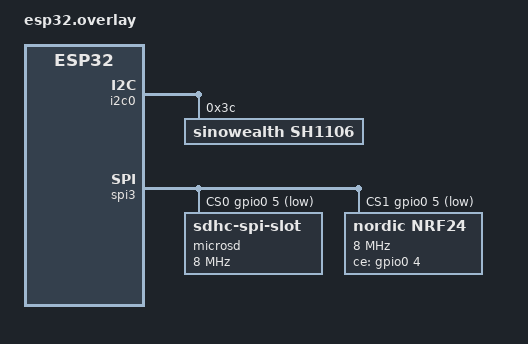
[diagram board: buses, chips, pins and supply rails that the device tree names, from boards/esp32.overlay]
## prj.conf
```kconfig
CONFIG_BT=y
CONFIG_BT_CENTRAL=y
CONFIG_BT_MAX_CONN=5
#CONFIG_BT_GATT_CLIENT=y
#CONFIG_BT_SMP=y
# CONFIG_BT_MAX_PAIRED=6
# CONFIG_BT_EXT_ADV=y
# CONFIG_BT_CTLR_ADV_EXT=y
```

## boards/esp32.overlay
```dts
&i2c0 {
    sh1106:sh1106@3c{
        compatible="sinowealth,sh1106";
        status="okay";
        reg=<0x3c>;
    };
};

&spi3 {
    status = "okay";
    cs-gpios = <&gpio0 5 GPIO_ACTIVE_LOW>, <&gpio0 5 GPIO_ACTIVE_LOW>;
    microsd:microsd@0{
     compatible ="zephyr,sdhc-spi-slot";
     spi-max-frequency= <8000000>;
     status="okay";
     reg = <0>;
     
    };

    nrf24:nrf24@1{
        compatible="nordic,nrf24";
        reg=<1>;
        spi-max-frequency=<8000000>;
        ce-gpios=<&gpio0 4 GPIO_ACTIVE_HIGH>;
        status="okay";
    };
};
```

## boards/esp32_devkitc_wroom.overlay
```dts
/ {
    aliases {
        led0 = &onboard_led;
    };

    leds {
        compatible = "gpio-leds";

        onboard_led: onboard_led {
            gpios = <&gpio0 2 GPIO_ACTIVE_HIGH>;
            label = "onboard led";
        };
    };
};

#include "esp32.overlay"
```

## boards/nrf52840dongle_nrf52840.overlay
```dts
&i2c1 {
    status = "okay";
    sh1106:sh1106@3c{
        compatible="sinowealth,sh1106";
        status="okay";
        reg=<0x3c>;
    }; 
};

&i2c0 {
    status = "disabled";
};

&spi1 {
    status = "disabled";
};

&spi0 {
    status = "okay";
    cs-gpios = < &gpio0 2 GPIO_ACTIVE_LOW >,< &gpio0 2 GPIO_ACTIVE_LOW >;
    microsd:microsd@0{
     compatible ="zephyr,sdhc-spi-slot";
     spi-max-frequency= <16000000>;
     status="okay";
     reg = <0>;
     label = "microsd-card";
    };

    nrf24:nrf24@1{
        compatible="nordic,nrf24";
        reg=<1>;
        spi-max-frequency=<8000000>;
        ce-gpios=<&gpio0 13 GPIO_ACTIVE_HIGH>;
        status="okay";
        label = "nrf24";
    };
};
```

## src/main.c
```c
/* main.c - Application main entry point */

/*
 * Copyright (c) 2021 Nordic Semiconductor ASA
 * Copyright (c) 2015-2016 Intel Corporation
 *
 * SPDX-License-Identifier: Apache-2.0
 */

#include <zephyr/types.h>
#include <stddef.h>
#include <errno.h>
#include <zephyr/kernel.h>
#include <zephyr/sys/printk.h>

#include <zephyr/bluetooth/bluetooth.h>
#include <zephyr/bluetooth/hci.h>
#include <zephyr/bluetooth/conn.h>
#include <zephyr/bluetooth/uuid.h>
#include <zephyr/bluetooth/gatt.h>
#include <zephyr/sys/byteorder.h>

#define SCAN_INTERVAL 0x0640 /* 1000 ms */
#define SCAN_WINDOW   0x0030 /* 30 ms */
#define INIT_INTERVAL 0x0010 /* 10 ms */
#define INIT_WINDOW   0x0010 /* 10 ms */
#define CONN_INTERVAL 0x0320 /* 1000 ms */
#define CONN_LATENCY  0
#define CONN_TIMEOUT  MIN(MAX((CONN_INTERVAL * 125 * \
			       MAX(CONFIG_BT_MAX_CONN, 6) / 1000), 10), 3200)

static void start_scan(void);

static struct bt_conn *conn_connecting;
static uint8_t volatile conn_count;
static bool volatile is_disconnecting;

static void device_found(const bt_addr_le_t *addr, int8_t rssi, uint8_t type,
			 struct net_buf_simple *ad)
{
	struct bt_conn_le_create_param create_param = {
		.options = BT_CONN_LE_OPT_NONE,
		.interval = INIT_INTERVAL,
		.window = INIT_WINDOW,
		.interval_coded = 0,
		.window_coded = 0,
		.timeout = 0,
	};
	struct bt_le_conn_param conn_param = {
		.interval_min = CONN_INTERVAL,
		.interval_max = CONN_INTERVAL,
		.latency = CONN_LATENCY,
		.timeout = CONN_TIMEOUT,
	};
	char addr_str[BT_ADDR_LE_STR_LEN];
	int err;

	if (conn_connecting) {
		return;
	}

	/* We're only interested in connectable events */
	if (type != BT_GAP_ADV_TYPE_ADV_IND &&
	    type != BT_GAP_ADV_TYPE_ADV_DIRECT_IND &&
	    type != BT_GAP_ADV_TYPE_EXT_ADV) {
		return;
	}

	bt_addr_le_to_str(addr, addr_str, sizeof(addr_str));
	printk("Device found: %s (RSSI %d)\n", addr_str, rssi);

	/* connect only to devices in close proximity */
	if (rssi < -120) {
		return;
	}

	if (bt_le_scan_stop()) {
		printk("Scanning successfully stopped\n");
		return;
	}

	err = bt_conn_le_create(addr, &create_param, &conn_param,
				&conn_connecting);
	if (err) {
		printk("Create conn to %s failed (%d)\n", addr_str, err);
		start_scan();
	}
}

static void start_scan(void)
{
	struct bt_le_scan_param scan_param = {
		.type       = BT_HCI_LE_SCAN_PASSIVE,
		.options    = BT_LE_SCAN_OPT_NONE,
		.interval   = SCAN_INTERVAL,
		.window     = SCAN_WINDOW,
	};
	int err;

	err = bt_le_scan_start(&scan_param, device_found);
	if (err) {
		printk("Scanning failed to start (err %d)\n", err);
		return;
	}

	printk("Scanning successfully started\n");
}

#if defined(CONFIG_BT_GATT_CLIENT)
static void mtu_exchange_cb(struct bt_conn *conn, uint8_t err,
			    struct bt_gatt_exchange_params *params)
{
	printk("MTU exchange %u %s (%u)\n", bt_conn_index(conn),
	       err == 0U ? "successful" : "failed", bt_gatt_get_mtu(conn));
}

static struct bt_gatt_exchange_params mtu_exchange_params[CONFIG_BT_MAX_CONN];

static int mtu_exchange(struct bt_conn *conn)
{
	uint8_t conn_index;
	int err;

	conn_index = bt_conn_index(conn);

	printk("MTU (%u): %u\n", conn_index, bt_gatt_get_mtu(conn));

	mtu_exchange_params[conn_index].func = mtu_exchange_cb;

	err = bt_gatt_exchange_mtu(conn, &mtu_exchange_params[conn_index]);
	if (err) {
		printk("MTU exchange failed (err %d)", err);
	} else {
		printk("Exchange pending...");
	}

	return err;
}
#endif /* CONFIG_BT_GATT_CLIENT */

static void connected(struct bt_conn *conn, uint8_t reason)
{
	char addr[BT_ADDR_LE_STR_LEN];

	bt_addr_le_to_str(bt_conn_get_dst(conn), addr, sizeof(addr));

	if (reason) {
		printk("Failed to connect to %s (%u)\n", addr, reason);

		bt_conn_unref(conn_connecting);
		conn_connecting = NULL;

		start_scan();
		return;
	}

	conn_connecting = NULL;

	conn_count++;
	if (conn_count < CONFIG_BT_MAX_CONN) {
		start_scan();
	}

	printk("Connected (%u): %s\n", conn_count, addr);

#if defined(CONFIG_BT_SMP)
	int err = bt_conn_set_security(conn, BT_SECURITY_L2);

	if (err) {
		printk("Failed to set security (%d).\n", err);
	}
#endif

#if defined(CONFIG_BT_GATT_CLIENT)
	mtu_exchange(conn);
#endif
}

static void disconnected(struct bt_conn *conn, uint8_t reason)
{
	char addr[BT_ADDR_LE_STR_LEN];

	bt_addr_le_to_str(bt_conn_get_dst(conn), addr, sizeof(addr));

	printk("Disconnected: %s (reason 0x%02x)\n", addr, reason);

	bt_conn_unref(conn);

	if ((conn_count == 1U) && is_disconnecting) {
		is_disconnecting = false;
		start_scan();
	}
	conn_count--;
}

static bool le_param_req(struct bt_conn *conn, struct bt_le_conn_param *param)
{
	char addr[BT_ADDR_LE_STR_LEN];

	bt_addr_le_to_str(bt_conn_get_dst(conn), addr, sizeof(addr));

	printk("LE conn param req: %s int (0x%04x, 0x%04x) lat %d to %d\n",
	       addr, param->interval_min, param->interval_max, param->latency,
	       param->timeout);

	return true;
}

static void le_param_updated(struct bt_conn *conn, uint16_t interval,
			     uint16_t latency, uint16_t timeout)
{
	char addr[BT_ADDR_LE_STR_LEN];

	bt_addr_le_to_str(bt_conn_get_dst(conn), addr, sizeof(addr));

	printk("LE conn param updated: %s int 0x%04x lat %d to %d\n",
	       addr, interval, latency, timeout);
}

#if defined(CONFIG_BT_SMP)
static void security_changed(struct bt_conn *conn, bt_security_t level,
			     enum bt_security_err err)
{
	char addr[BT_ADDR_LE_STR_LEN];

	bt_addr_le_to_str(bt_conn_get_dst(conn), addr, sizeof(addr));

	if (!err) {
		printk("Security changed: %s level %u\n", addr, level);
	} else {
		printk("Security failed: %s level %u err %d\n", addr, level,
		       err);
	}
}
#endif

#if defined(CONFIG_BT_USER_PHY_UPDATE)
static void le_phy_updated(struct bt_conn *conn,
			   struct bt_conn_le_phy_info *param)
{
	char addr[BT_ADDR_LE_STR_LEN];

	bt_addr_le_to_str(bt_conn_get_dst(conn), addr, sizeof(addr));

	printk("LE PHY Updated: %s Tx 0x%x, Rx 0x%x\n", addr, param->tx_phy,
	       param->rx_phy);
}
#endif /* CONFIG_BT_USER_PHY_UPDATE */

#if defined(CONFIG_BT_USER_DATA_LEN_UPDATE)
static void le_data_len_updated(struct bt_conn *conn,
				struct bt_conn_le_data_len_info *info)
{
	char addr[BT_ADDR_LE_STR_LEN];

	bt_addr_le_to_str(bt_conn_get_dst(conn), addr, sizeof(addr));

	printk("Data length updated: %s max tx %u (%u us) max rx %u (%u us)\n",
	       addr, info->tx_max_len, info->tx_max_time, info->rx_max_len,
	       info->rx_max_time);
}
#endif /* CONFIG_BT_USER_DATA_LEN_UPDATE */

static struct bt_conn_cb conn_callbacks = {
	.connected = connected,
	.disconnected = disconnected,
	.le_param_req = le_param_req,
	.le_param_updated = le_param_updated,

#if defined(CONFIG_BT_SMP)
	.security_changed = security_changed,
#endif

#if defined(CONFIG_BT_USER_PHY_UPDATE)
	.le_phy_updated = le_phy_updated,
#endif /* CONFIG_BT_USER_PHY_UPDATE */

#if defined(CONFIG_BT_USER_DATA_LEN_UPDATE)
	.le_data_len_updated = le_data_len_updated,
#endif /* CONFIG_BT_USER_DATA_LEN_UPDATE */
};

static void disconnect(struct bt_conn *conn, void *data)
{
	char addr[BT_ADDR_LE_STR_LEN];
	int err;

	bt_addr_le_to_str(bt_conn_get_dst(conn), addr, sizeof(addr));

	printk("Disconnecting %s...\n", addr);
	err = bt_conn_disconnect(conn, BT_HCI_ERR_REMOTE_USER_TERM_CONN);
	if (err) {
		printk("Failed disconnection %s.\n", addr);
	}
	printk("success.\n");
}
uint8_t iterations=0;
int main(uint8_t iterations)
{
	int err;

	err = bt_enable(NULL);
	if (err) {
		printk("Bluetooth init failed (err %d)\n", err);
		return err;
	}

	printk("Bluetooth initialized\n");

	bt_conn_cb_register(&conn_callbacks);

	start_scan();

	while (true) {
		while (conn_count < CONFIG_BT_MAX_CONN) {
			k_sleep(K_MSEC(10));
		}

		k_sleep(K_SECONDS(60));

		if (!iterations) {
			break;
		}
		iterations--;
		printk("Iterations remaining: %u\n", iterations);

		printk("Disconnecting all...\n");
		is_disconnecting = true;
		bt_conn_foreach(BT_CONN_TYPE_LE, disconnect, NULL);

		while (is_disconnecting) {
			k_sleep(K_MSEC(10));
		}
		printk("All disconnected.\n");
	}

	return 0;
}
```
